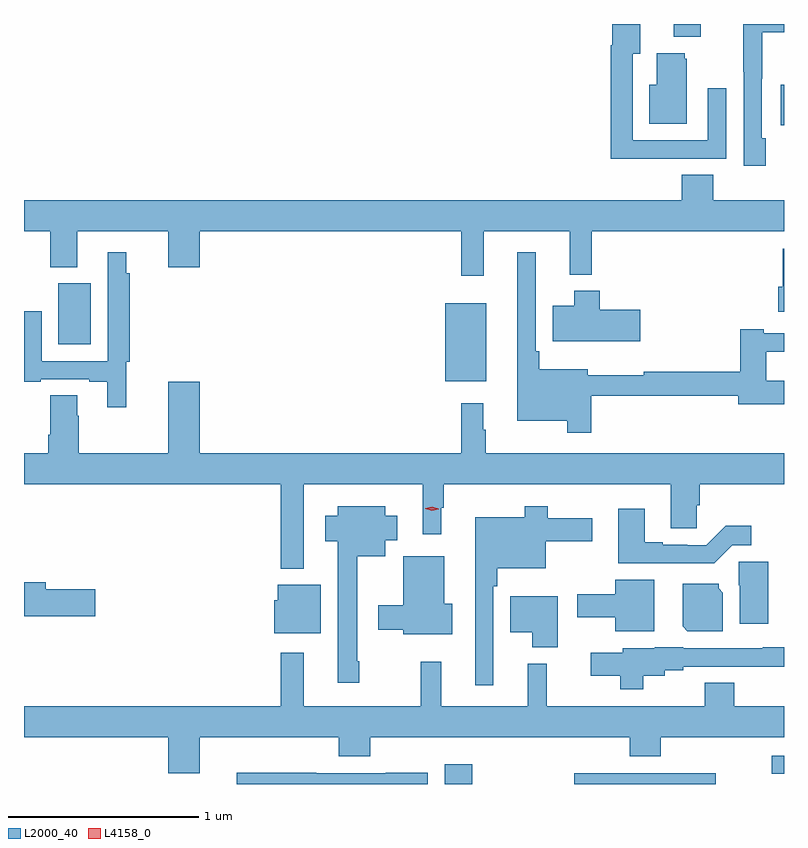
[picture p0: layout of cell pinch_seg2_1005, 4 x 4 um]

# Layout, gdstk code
import gdstk
lib = gdstk.Library(unit=1e-6, precision=1e-09)
def R(c, l, rs):  # rectangles x0, y0, x1, y1
    for r in rs: c.add(gdstk.rectangle(r[:2], r[2:], *l))
def P(c, l, *ps):  # polygons
    for p in ps: c.add(gdstk.Polygon(p, *l))
L2000_40 = (2000, 40)
L4158_0 = (4158, 0)

pinch_seg2_1005 = lib.new_cell('pinch_seg2_1005')
R(pinch_seg2_1005, L2000_40, [(334.295,600.771,334.439,600.874), (334.977,600.771,335.722,600.828), (336.015,600.825,336.08,600.921), (334.298,602.891,334.513,603.301), (332.261,603.086,332.431,603.406), (336.062,604.238,336.08,604.45), (335.501,604.703,335.641,604.771)])
P(pinch_seg2_1005, L2000_40, [(335.459,604.062),(335.775,604.062),(335.775,604.432),(335.679,604.432),(335.679,604.158),(335.283,604.158),(335.283,604.615),(335.323,604.615),(335.323,604.771),(335.175,604.771),(335.175,604.658),(335.167,604.658),(335.167,604.061),(335.459,604.061)],
  [(335.983,604.17),(335.964,604.17),(335.964,604.483),(335.965,604.483),(335.965,604.728),(336.08,604.728),(336.08,604.771),(335.866,604.771),(335.866,604.519),(335.868,604.519),(335.868,604.026),(335.983,604.026)],
  [(335.569,604.587),(335.558,604.587),(335.558,604.618),(335.411,604.618),(335.411,604.45),(335.372,604.45),(335.372,604.247),(335.569,604.247)],
  [(334.499,603.68),(334.952,603.68),(334.952,603.452),(335.069,603.452),(335.069,603.68),(336.08,603.68),(336.08,603.844),(335.708,603.844),(335.708,603.977),(335.543,603.977),(335.543,603.844),(332.08,603.844),(332.08,603.68),(332.219,603.68),(332.219,603.491),(332.359,603.491),(332.359,603.68),(332.84,603.68),(332.84,603.492),(333.004,603.492),(333.004,603.68),(334.381,603.68),(334.381,603.447),(334.499,603.447)],
  [(336.08,603.588),(336.073,603.588),(336.073,603.387),(336.05,603.387),(336.05,603.257),(336.08,603.257)],
  [(332.619,602.994),(332.636,602.994),(332.636,603.458),(332.619,603.458),(332.619,603.571),(332.52,603.571),(332.52,602.997),(332.173,602.997),(332.173,603.259),(332.08,603.259),(332.08,602.889),(332.167,602.889),(332.167,602.901),(332.423,602.901),(332.423,602.889),(332.519,602.889),(332.519,602.754),(332.619,602.754)],
  [(335.066,602.814),(335.84,602.814),(335.84,602.771),(336.08,602.771),(336.08,602.893),(335.987,602.893),(335.987,603.047),(336.08,603.047),(336.08,603.144),(335.974,603.144),(335.974,603.164),(335.851,603.164),(335.851,602.942),(335.343,602.942),(335.343,602.923),(335.047,602.923),(335.047,602.953),(334.793,602.953),(334.793,603.049),(334.773,603.049),(334.773,603.571),(334.676,603.571),(334.676,602.684),(334.938,602.684),(334.938,602.619),(335.066,602.619)],
  [(335.323,603.267),(335.111,603.267),(335.111,603.367),(334.976,603.367),(334.976,603.289),(334.862,603.289),(334.862,603.101),(335.323,603.101)],
  [(333.553,602.348),(334.178,602.348),(334.178,602.085),(334.276,602.085),(334.276,602.225),(334.288,602.225),(334.288,602.348),(335.483,602.348),(335.483,602.116),(335.622,602.116),(335.622,602.238),(335.636,602.238),(335.636,602.348),(336.08,602.348),(336.08,602.512),(334.51,602.512),(334.51,602.636),(334.498,602.636),(334.498,602.776),(334.381,602.776),(334.381,602.512),(333.004,602.512),(333.004,602.887),(332.84,602.887),(332.84,602.512),(332.367,602.512),(332.367,602.708),(332.359,602.708),(332.359,602.816),(332.219,602.816),(332.219,602.608),(332.207,602.608),(332.207,602.512),(332.08,602.512),(332.08,602.348),(333.432,602.348),(333.432,601.904),(333.553,601.904)],
  [(334.551,601.811),(334.571,601.811),(334.571,601.907),(334.825,601.907),(334.825,602.048),(335.071,602.048),(335.071,602.17),(334.837,602.17),(334.837,602.233),(334.716,602.233),(334.716,602.176),(334.454,602.176),(334.454,601.811),(334.455,601.811),(334.455,601.29),(334.551,601.29)],
  [(333.845,601.417),(333.835,601.417),(333.835,601.97),(333.982,601.97),(333.982,602.053),(334.045,602.053),(334.045,602.182),(333.982,602.182),(333.982,602.233),(333.731,602.233),(333.731,602.182),(333.665,602.182),(333.665,602.048),(333.731,602.048),(333.731,601.305),(333.845,601.305)],
  [(335.808,602.028),(335.908,602.028),(335.908,602.131),(335.773,602.131),(335.67,602.028),(335.57,602.028),(335.57,602.031),(335.443,602.031),(335.443,602.044),(335.347,602.044),(335.347,602.221),(335.207,602.221),(335.207,601.934),(335.714,601.934)],
  [(334.333,601.719),(334.291,601.719),(334.291,601.969),(334.076,601.969),(334.076,601.711),(333.945,601.711),(333.945,601.582),(334.076,601.582),(334.076,601.559),(334.333,601.559)],
  [(335.998,601.941),(335.842,601.941),(335.842,601.818),(335.846,601.818),(335.846,601.614),(335.998,601.614)],
  [(335.398,601.846),(335.192,601.846),(335.192,601.771),(334.992,601.771),(334.992,601.649),(335.192,601.649),(335.192,601.574),(335.398,601.574)],
  [(332.455,601.796),(332.194,601.796),(332.194,601.832),(332.08,601.832),(332.08,601.654),(332.455,601.654)],
  [(335.758,601.778),(335.736,601.8),(335.736,601.825),(335.546,601.825),(335.546,601.6),(335.572,601.574),(335.758,601.574)],
  [(333.643,601.819),(333.416,601.819),(333.416,601.737),(333.398,601.737),(333.398,601.565),(333.643,601.565)],
  [(334.888,601.759),(334.64,601.759),(334.64,601.571),(334.754,601.571),(334.754,601.49),(334.888,601.49)],
  [(335.338,601.34),(335.452,601.34),(335.452,601.37),(335.55,601.37),(335.55,601.389),(335.967,601.389),(335.967,601.388),(336.08,601.388),(336.08,601.492),(335.967,601.492),(335.967,601.485),(335.55,601.485),(335.55,601.492),(335.4,601.492),(335.4,601.486),(335.232,601.486),(335.232,601.462),(335.064,601.462),(335.064,601.34),(335.217,601.34),(335.217,601.271),(335.338,601.271)],
  [(333.004,601.016),(333.737,601.016),(333.737,600.917),(333.902,600.917),(333.902,601.016),(335.267,601.016),(335.267,600.917),(335.432,600.917),(335.432,601.016),(336.08,601.016),(336.08,601.18),(335.817,601.18),(335.817,601.304),(335.662,601.304),(335.662,601.18),(334.83,601.18),(334.83,601.405),(334.73,601.405),(334.73,601.18),(334.277,601.18),(334.277,601.414),(334.167,601.414),(334.167,601.18),(333.553,601.18),(333.553,601.462),(333.432,601.462),(333.432,601.18),(332.08,601.18),(332.08,601.016),(332.84,601.016),(332.84,600.828),(333.004,600.828)],
  [(334.206,600.83),(333.985,600.83),(333.985,600.828),(333.619,600.828),(333.619,600.83),(333.201,600.83),(333.201,600.771),(334.206,600.771)])
P(pinch_seg2_1005, L4158_0, [(334.227,602.21),(334.192,602.221),(334.192,602.221),(334.192,602.222),(334.228,602.23),(334.264,602.219),(334.264,602.219),(334.264,602.218)])

lib.write_gds('pinch_seg2_1005.gds')
